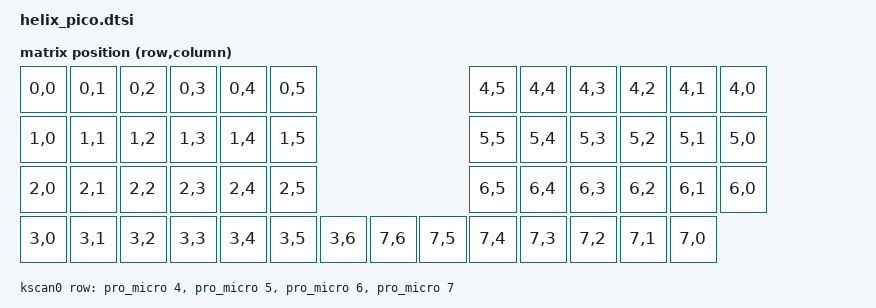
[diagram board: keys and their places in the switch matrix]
/*
 * Copyright (c) 2024 HaruStudio
 * SPDX-License-Identifier: MIT
 *
 * Helix Pico ZMK Shield
 * Based on QMK config: 4 rows x 7 cols per side, COL2ROW
 * ROW pins: D4, C6, D7, E6
 * COL pins: F4, F5, F6, F7, B1, B3, B2
 */

#include <dt-bindings/zmk/matrix_transform.h>

/ {
    chosen {
        zmk,kscan = &kscan0;
        zmk,matrix_transform = &default_transform;
    };

    default_transform: keymap_transform_0 {
        compatible = "zmk,matrix-transform";
        columns = <7>;
        rows = <8>;
        /*
         * Physical layout (left to right):
         *
         * L=Left half (rows 0-3), R=Right half (rows 4-7)
         * Right half cols are reversed (col5→col0) due to PCB mirroring
         *
         * Row0:  L0,0  L0,1  L0,2  L0,3  L0,4  L0,5        R4,5  R4,4  R4,3  R4,2  R4,1  R4,0
         * Row1:  L1,0  L1,1  L1,2  L1,3  L1,4  L1,5        R5,5  R5,4  R5,3  R5,2  R5,1  R5,0
         * Row2:  L2,0  L2,1  L2,2  L2,3  L2,4  L2,5        R6,5  R6,4  R6,3  R6,2  R6,1  R6,0
         * Row3:  L3,0  L3,1  L3,2  L3,3  L3,4  L3,5  L3,6  R7,6  R7,5  R7,4  R7,3  R7,2  R7,1  R7,0
         */
        map = <
RC(0,0) RC(0,1) RC(0,2) RC(0,3) RC(0,4) RC(0,5)                         RC(4,5) RC(4,4) RC(4,3) RC(4,2) RC(4,1) RC(4,0)
RC(1,0) RC(1,1) RC(1,2) RC(1,3) RC(1,4) RC(1,5)                         RC(5,5) RC(5,4) RC(5,3) RC(5,2) RC(5,1) RC(5,0)
RC(2,0) RC(2,1) RC(2,2) RC(2,3) RC(2,4) RC(2,5)                         RC(6,5) RC(6,4) RC(6,3) RC(6,2) RC(6,1) RC(6,0)
RC(3,0) RC(3,1) RC(3,2) RC(3,3) RC(3,4) RC(3,5) RC(3,6) RC(7,6) RC(7,5) RC(7,4) RC(7,3) RC(7,2) RC(7,1) RC(7,0)
        >;
    };

    kscan0: kscan {
        compatible = "zmk,kscan-gpio-matrix";
        diode-direction = "col2row";
        wakeup-source;

        row-gpios
            = <&pro_micro 4 (GPIO_ACTIVE_HIGH | GPIO_PULL_DOWN)>  /* D4 - row 0 */
            , <&pro_micro 5 (GPIO_ACTIVE_HIGH | GPIO_PULL_DOWN)>  /* C6 - row 1 */
            , <&pro_micro 6 (GPIO_ACTIVE_HIGH | GPIO_PULL_DOWN)>  /* D7 - row 2 */
            , <&pro_micro 7 (GPIO_ACTIVE_HIGH | GPIO_PULL_DOWN)>  /* E6 - row 3 */
            ;
        /* col-gpios defined in left/right overlay files */
    };
};
